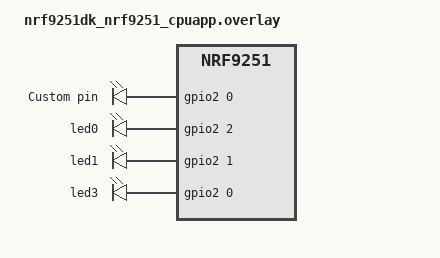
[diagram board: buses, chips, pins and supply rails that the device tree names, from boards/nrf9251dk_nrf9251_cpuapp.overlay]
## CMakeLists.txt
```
#
# Copyright (c) 2025 Nordic Semiconductor ASA
#
# SPDX-License-Identifier: LicenseRef-Nordic-5-Clause
#

cmake_minimum_required(VERSION 3.20.0)

find_package(Zephyr REQUIRED HINTS $ENV{ZEPHYR_BASE})

if(NOT SYSBUILD)
  message(FATAL_ERROR
    " This is a multi-image application that should be built using sysbuild.\n"
    " Add --sysbuild argument to west build command to prepare all the images.")
endif()

project(pm_states)

target_sources(app PRIVATE src/main.c)
```

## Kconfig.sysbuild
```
#
# Copyright (c) 2025 Nordic Semiconductor ASA
#
# SPDX-License-Identifier: LicenseRef-Nordic-5-Clause
#

config NRF_DEFAULT_EMPTY
	default y

source "$(ZEPHYR_BASE)/share/sysbuild/Kconfig"
```

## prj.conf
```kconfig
CONFIG_ASSERT=y
CONFIG_PM=y
CONFIG_GPIO=y
CONFIG_CONSOLE=n
CONFIG_UART_CONSOLE=n
CONFIG_SERIAL=n
```

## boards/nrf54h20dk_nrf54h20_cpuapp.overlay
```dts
/*
 * Copyright (c) 2025 Nordic Semiconductor ASA
 *
 * SPDX-License-Identifier: LicenseRef-Nordic-5-Clause
 */

&uart136 {
	status = "disabled";
};
```

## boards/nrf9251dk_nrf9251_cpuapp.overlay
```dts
/*
 * Copyright (c) 2026 Nordic Semiconductor ASA
 *
 * SPDX-License-Identifier: LicenseRef-Nordic-5-Clause
 */

&uart133 {
	status = "disabled";
};

&led0 {
	/*
	 * nrf9251 pulls GPIOs up during bootup, to adapt
	 * to measurement methods, logic is inverted
	 */
	gpios = <&gpio2 2 GPIO_ACTIVE_HIGH>;
};

&led1 {
	/* Move to other GPIO. */
	gpios = <&gpio2 1 GPIO_ACTIVE_HIGH>;
};

&led3 {
	/* Move to other GPIO. */
	gpios = <&gpio2 0 GPIO_ACTIVE_HIGH>;
};

/ {
	aliases {
		led2 = &led2;
	};

	leds {
		compatible = "gpio-leds";

		/* Hack: Same as led_3. */
		led2: led_2 {
			gpios = <&gpio2 0 GPIO_ACTIVE_HIGH>;
			label = "Custom pin";
		};
	};
};
```

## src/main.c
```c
/*
 * Copyright (c) 2025 Nordic Semiconductor ASA
 *
 * SPDX-License-Identifier: LicenseRef-Nordic-5-Clause
 */

#include <zephyr/devicetree.h>
#include <zephyr/kernel.h>
#include <zephyr/drivers/gpio.h>
#include <zephyr/pm/pm.h>

#define PS_NODE DT_PATH(cpus, power_states)

#if DT_NODE_EXISTS(PS_NODE)
#define PS_VAL(node) DT_PROP_OR(node, min_residency_us, 0),

static const uint32_t min_residencies[] = {DT_FOREACH_CHILD(PS_NODE, PS_VAL)};

#define PS_COUNT ARRAY_SIZE(min_residencies)
#else
static const uint32_t min_residencies[] = {};
#define PS_COUNT 0
#endif

static const struct gpio_dt_spec leds[] = {
	GPIO_DT_SPEC_GET(DT_ALIAS(led0), gpios),
	GPIO_DT_SPEC_GET(DT_ALIAS(led1), gpios),
	GPIO_DT_SPEC_GET(DT_ALIAS(led2), gpios),
	GPIO_DT_SPEC_GET(DT_ALIAS(led3), gpios),
};
#define LED_COUNT ARRAY_SIZE(leds)

static void notify_pm_state_entry(enum pm_state state)
{
	switch (state) {
	case PM_STATE_SUSPEND_TO_IDLE:
		gpio_pin_set_dt(&leds[0], 1);
		break;
	case PM_STATE_SUSPEND_TO_RAM:
		gpio_pin_set_dt(&leds[1], 1);
		break;
	default:
		__ASSERT(true, "Unexpected PM state: %d", state);
		break;
	}
}

static void notify_pm_state_exit(enum pm_state state)
{
	for (size_t i = 0; i < LED_COUNT; i++) {
		gpio_pin_set_dt(&leds[i], 0);
	}
}

static struct pm_notifier notifier = {
	.state_entry = notify_pm_state_entry,
	.state_exit = notify_pm_state_exit,
};

int main(void)
{
	int ret;

	for (size_t i = 0; i < LED_COUNT; i++) {
		ret = gpio_is_ready_dt(&leds[i]);
		__ASSERT(ret, "Error: GPIO Device not ready");
		ret = gpio_pin_configure_dt(&leds[i], GPIO_OUTPUT_INACTIVE);
		__ASSERT(ret == 0, "Could not configure led GPIO");
	}

	pm_notifier_register(&notifier);

	k_msleep(1500);

	if (PS_COUNT != 0) {
		while (1) {
			k_usleep(min_residencies[0] - 100);
			for (size_t i = 0; i < PS_COUNT; i++) {
				k_usleep(min_residencies[i] + 100);
			}
			k_busy_wait(400);
		}
	}

	return 0;
}
```
